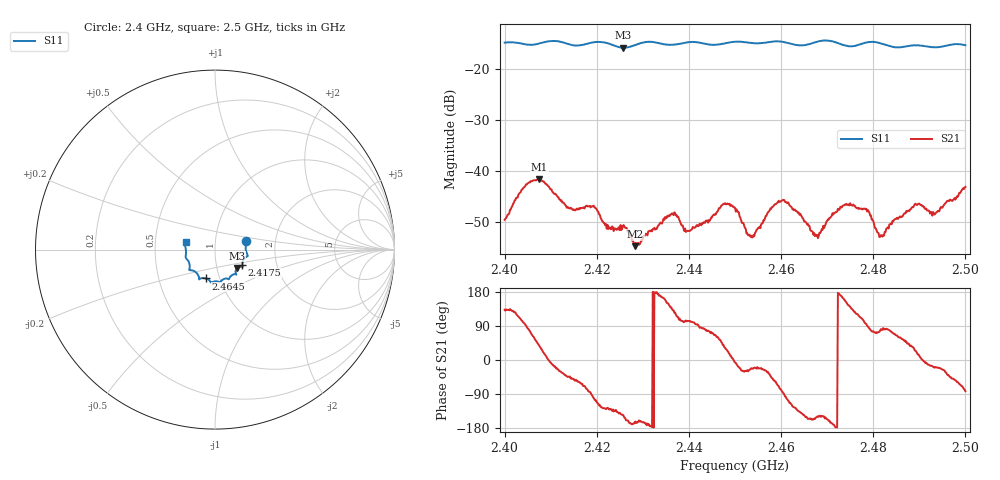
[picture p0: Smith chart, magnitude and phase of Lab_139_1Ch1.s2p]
# Hz S RI R 50
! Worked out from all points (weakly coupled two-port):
!   601 points, 2.4 GHz to 2.5 GHz, reference 50 ohm
!   highest |S21| = -41.64 dB at 2.4075 GHz (marker M1); lowest = -54.7 dB at 2.4283 GHz (marker M2)
!   lowest |S11| = -15.9 dB at 2.4257 GHz (marker M3), VSWR 1.38, Z = 62.5 - j13.1 ohm
!   |S11| at or under -10 dB: start of sweep to end of sweep
!   S12 and S22 are empty: the file has one direction only
!   S11 on the Smith chart (normalised r, x): 2.4 GHz: 1.41, +0.14; 2.4175 GHz: 1.34, -0.23; 2.4645 GHz: 0.86, -0.28; 2.5 GHz: 0.72, +0.06
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2.4e9  0.1727 0.0491  -0.00224 0.00245  0 0  0 0
2.404167e9  0.1721 0.0236  -0.000978 0.00684  0 0  0 0
2.4075e9  0.1753 -0.0158  0.00652 0.00511  0 0  0 0
2.416667e9  0.1528 -0.0739  0.00199 -0.00387  0 0  0 0
2.4175e9  0.1518 -0.0833  0.00145 -0.0042  0 0  0 0
2.425667e9  0.123 -0.1021  -0.00236 -0.00167  0 0  0 0
2.428333e9  0.1146 -0.126  -0.00175 -0.000559  0 0  0 0
2.433333e9  0.1131 -0.1373  -0.00291 0.000269  0 0  0 0
2.436667e9  0.0894 -0.1462  -0.00242 0.00279  0 0  0 0
2.439833e9  0.0794 -0.1626  -0.0006 0.00253  0 0  0 0
2.45e9  0.0288 -0.1809  0.00432 -0.000474  0 0  0 0
2.453333e9  0.0152 -0.1775  0.00206 -0.000958  0 0  0 0
2.46e9  -0.0241 -0.1823  0.00104 -0.00495  0 0  0 0
2.4645e9  -0.0516 -0.1605  -0.00277 -0.00224  0 0  0 0
2.466667e9  -0.0757 -0.1595  -0.00238 -0.00099  0 0  0 0
2.4745e9  -0.1018 -0.1311  -0.00382 0.00262  0 0  0 0
2.478667e9  -0.1395 -0.1148  -4.84e-05 0.00401  0 0  0 0
2.4815e9  -0.1424 -0.1063  0.000465 0.00222  0 0  0 0
2.483333e9  -0.1408 -0.0901  0.000483 0.00269  0 0  0 0
2.4895e9  -0.1632 -0.0431  0.0044 0.00147  0 0  0 0
2.493833e9  -0.1619 -0.00414  0.00372 -0.00137  0 0  0 0
2.5e9  -0.1635 0.0436  0.000942 -0.00691  0 0  0 0
